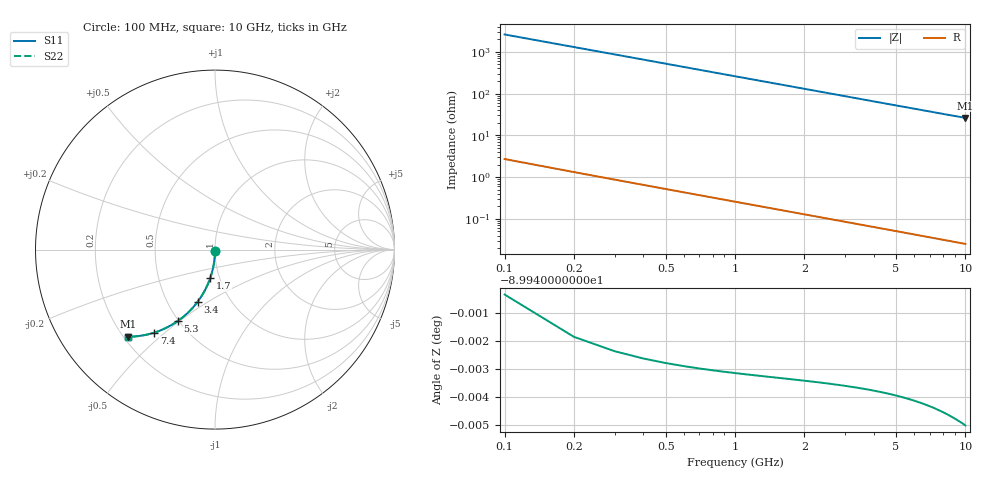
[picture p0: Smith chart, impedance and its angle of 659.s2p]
# Hz S RI R 50.00
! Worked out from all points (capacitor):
!   100 points, 100 MHz to 10 GHz, reference 50 ohm
!   read as one part in shunt: C = 611 fF near 100 MHz
!   lowest |Z| = 26.2 ohm at 10 GHz (marker M1)
!   S11 on the Smith chart (normalised r, x): 100 MHz: 1.00, -0.02; 1.7 GHz: 0.90, -0.29; 3.4 GHz: 0.70, -0.45; 5.3 GHz: 0.50, -0.49; 7.4 GHz: 0.34, -0.46; 10 GHz: 0.22, -0.40
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1e8  -7.05e-05 -0.00946  0.9999 -0.00973  0.9999 -0.00973  -7.05e-05 -0.00946
2e8  -0.000356 -0.0189  0.9996 -0.0195  0.9996 -0.0195  -0.000356 -0.0189
3e8  -0.000825 -0.0284  0.9991 -0.0292  0.9991 -0.0292  -0.000825 -0.0284
4e8  -0.00148 -0.0378  0.9985 -0.0389  0.9985 -0.0389  -0.00148 -0.0378
5e8  -0.00231 -0.0472  0.9976 -0.0485  0.9976 -0.0485  -0.00231 -0.0472
6e8  -0.00333 -0.0566  0.9966 -0.0582  0.9966 -0.0582  -0.00333 -0.0566
8e8  -0.0059 -0.0752  0.994 -0.0774  0.994 -0.0774  -0.0059 -0.0752
1.1e9  -0.0111 -0.1029  0.9888 -0.1059  0.9888 -0.1059  -0.0111 -0.1029
1.4e9  -0.0178 -0.1301  0.9821 -0.1339  0.9821 -0.1339  -0.0178 -0.1301
1.7e9  -0.0261 -0.1566  0.9739 -0.1613  0.9739 -0.1613  -0.0261 -0.1566
1.8e9  -0.0291 -0.1653  0.9708 -0.1702  0.9708 -0.1702  -0.0291 -0.1653
2.1e9  -0.0392 -0.1909  0.9607 -0.1966  0.9607 -0.1966  -0.0392 -0.1909
2.5e9  -0.0547 -0.2236  0.9452 -0.2304  0.9452 -0.2304  -0.0547 -0.2236
2.9e9  -0.0722 -0.2545  0.9277 -0.2624  0.9277 -0.2624  -0.0722 -0.2545
3.4e9  -0.0967 -0.2905  0.9032 -0.2997  0.9032 -0.2997  -0.0967 -0.2905
4.2e9  -0.1404 -0.3413  0.8594 -0.3528  0.8594 -0.3528  -0.1404 -0.3413
5.1e9  -0.1943 -0.3882  0.8056 -0.4022  0.8056 -0.4022  -0.1943 -0.3882
5.3e9  -0.2066 -0.3972  0.7932 -0.4117  0.7932 -0.4117  -0.2066 -0.3972
6.7e9  -0.2942 -0.446  0.7055 -0.4645  0.7055 -0.4645  -0.2942 -0.446
7.4e9  -0.3373 -0.4621  0.6624 -0.4826  0.6624 -0.4826  -0.3373 -0.4621
8.4e9  -0.3964 -0.477  0.6033 -0.5004  0.6033 -0.5004  -0.3964 -0.477
1e10  -0.4826 -0.4852  0.517 -0.5132  0.517 -0.5132  -0.4826 -0.4852
